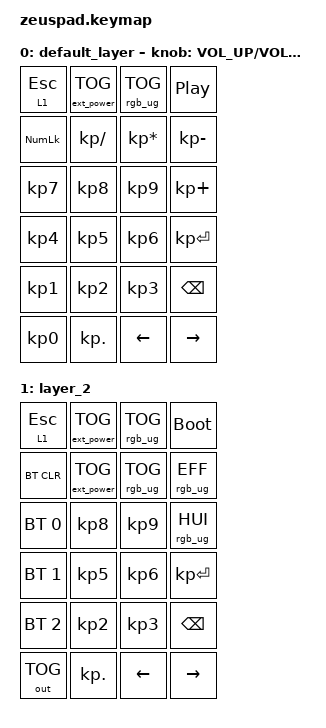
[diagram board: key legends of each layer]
/*
 * Copyright (c) 2020 The ZMK Contributors
 *
 * SPDX-License-Identifier: MIT
 */

#include <behaviors.dtsi>
#include <dt-bindings/zmk/keys.h>
#include <dt-bindings/zmk/bt.h>
#include <dt-bindings/zmk/outputs.h>
#include <dt-bindings/zmk/ext_power.h>
#include <dt-bindings/zmk/rgb.h>

/ {
	keymap {
		compatible = "zmk,keymap";
		default_layer {
			bindings = <
	    &lt 1 ESC   &ext_power EP_TOG  &rgb_ug RGB_TOG  &kp C_PLAY_PAUSE
	    &kp KP_NUM  &kp KP_SLASH       &kp KP_ASTERISK  &kp KP_MINUS
	    &kp KP_N7   &kp KP_N8          &kp KP_N9        &kp KP_PLUS
	    &kp KP_N4   &kp KP_N5          &kp KP_N6        &kp KP_ENTER
			&kp KP_N1   &kp KP_N2          &kp KP_N3        &kp BSPC
			&kp KP_N0   &kp KP_DOT         &kp LEFT         &kp RIGHT
			>;

			sensor-bindings = <&inc_dec_kp C_VOL_UP C_VOL_DN>;

		};

		layer_2 {
			bindings = <
			&lt 1 ESC     &ext_power EP_TOG  &rgb_ug RGB_TOG  &bootloader
			&bt BT_CLR    &ext_power EP_TOG  &rgb_ug RGB_TOG  &rgb_ug RGB_EFF
			&bt BT_SEL 0  &kp KP_N8          &kp KP_N9        &rgb_ug RGB_HUI
			&bt BT_SEL 1  &kp KP_N5          &kp KP_N6        &kp KP_ENTER
			&bt BT_SEL 2  &kp KP_N2          &kp KP_N3        &kp BSPC
			&out OUT_TOG  &kp KP_DOT         &kp LEFT         &kp RIGHT
			>;
		};
	};

	sensors {
				compatible = "zmk,keymap-sensors";
				sensors = <&left_encoder>;
		};

};

&left_encoder {
    status = "okay";
};
